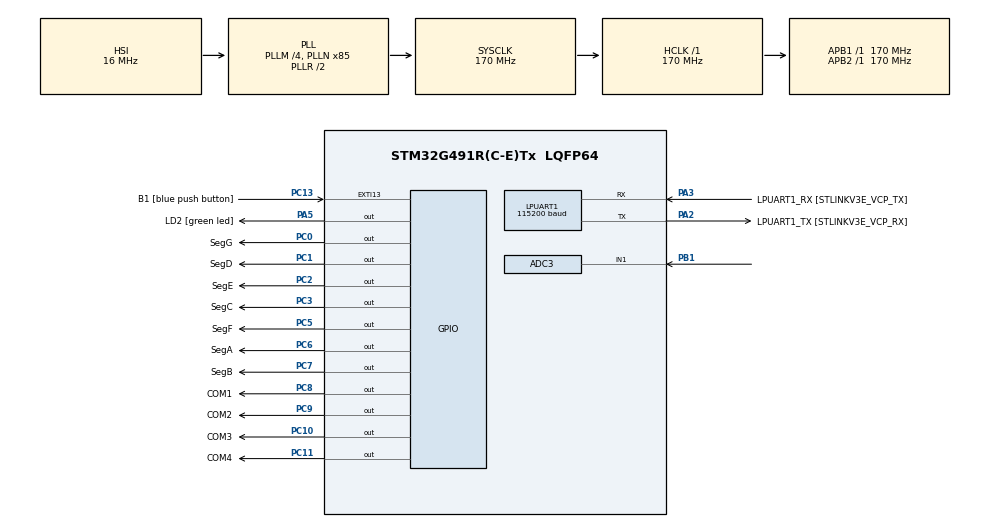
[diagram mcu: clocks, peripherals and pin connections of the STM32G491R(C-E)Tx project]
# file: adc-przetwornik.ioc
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ADC3.Channel-1\#ChannelRegularConversion=ADC_CHANNEL_1
ADC3.ContinuousConvMode=DISABLE
ADC3.NbrOfConversionFlag=1
ADC3.OffsetNumber-1\#ChannelRegularConversion=ADC_OFFSET_NONE
ADC3.Rank-1\#ChannelRegularConversion=1
ADC3.SamplingTime-1\#ChannelRegularConversion=ADC_SAMPLETIME_640CYCLES_5
ADC3.master=1
LPUART1.BaudRate=115200
LPUART1.WordLength=UART_WORDLENGTH_8B
Mcu.Family=STM32G4
Mcu.Name=STM32G491R(C-E)Tx
Mcu.Package=LQFP64
NVIC.ADC3_IRQn=true\:0\:0\:false\:false\:true\:true\:true\:true
NVIC.EXTI15_10_IRQn=true\:0\:0\:false\:false\:true\:true\:true\:true
NVIC.PriorityGroup=NVIC_PRIORITYGROUP_4
NVIC.TIM1_TRG_COM_TIM17_IRQn=true\:0\:0\:false\:false\:true\:true\:true\:true
NVIC.TIM1_UP_TIM16_IRQn=true\:0\:0\:false\:false\:true\:true\:true\:true
PA13.GPIO_Label=T_SWDIO
PA13.Mode=Serial_Wire
PA13.Signal=SYS_JTMS-SWDIO
PA14.GPIO_Label=T_SWCLK
PA14.Mode=Serial_Wire
PA14.Signal=SYS_JTCK-SWCLK
PA2.GPIO_Label=LPUART1_TX [STLINKV3E_VCP_RX]
PA2.Mode=Asynchronous
PA2.Signal=LPUART1_TX
PA3.GPIO_Label=LPUART1_RX [STLINKV3E_VCP_TX]
PA3.Mode=Asynchronous
PA3.Signal=LPUART1_RX
PA5.GPIO_Label=LD2 [green led]
PA5.Signal=GPIO_Output
PB1.Mode=IN1-Single-Ended
PB1.Signal=ADC3_IN1
PB3.GPIO_Label=T_SWO
PB3.Signal=SYS_JTDO-SWO
PC0.GPIO_Label=SegG
PC0.Signal=GPIO_Output
PC1.GPIO_Label=SegD
PC1.Signal=GPIO_Output
PC10.GPIO_Label=COM3
PC10.Signal=GPIO_Output
PC11.GPIO_Label=COM4
PC11.Signal=GPIO_Output
PC13.GPIO_Label=B1 [blue push button]
PC13.Signal=GPXTI13
PC14-OSC32_IN.Mode=LSE-External-Oscillator
PC14-OSC32_IN.Signal=RCC_OSC32_IN
PC15-OSC32_OUT.Mode=LSE-External-Oscillator
PC15-OSC32_OUT.Signal=RCC_OSC32_OUT
PC2.GPIO_Label=SegE
PC2.Signal=GPIO_Output
PC3.GPIO_Label=SegC
PC3.Signal=GPIO_Output
PC5.GPIO_Label=SegF
PC5.Signal=GPIO_Output
PC6.GPIO_Label=SegA
PC6.Signal=GPIO_Output
PC7.GPIO_Label=SegB
PC7.Signal=GPIO_Output
PC8.GPIO_Label=COM1
PC8.Signal=GPIO_Output
PC9.GPIO_Label=COM2
PC9.Signal=GPIO_Output
PF0-OSC_IN.Mode=HSE-External-Oscillator
PF0-OSC_IN.Signal=RCC_OSC_IN
PF1-OSC_OUT.Mode=HSE-External-Oscillator
PF1-OSC_OUT.Signal=RCC_OSC_OUT
ProjectManager.HeapSize=0x200
ProjectManager.StackSize=0x400
ProjectManager.TargetToolchain=STM32CubeIDE
RCC.ADC12Freq_Value=170000000
RCC.ADC345Freq_Value=170000000
RCC.AHBFreq_Value=170000000
RCC.APB1Freq_Value=170000000
RCC.APB1TimFreq_Value=170000000
RCC.APB2Freq_Value=170000000
RCC.APB2TimFreq_Value=170000000
RCC.CortexFreq_Value=170000000
RCC.EXTERNAL_CLOCK_VALUE=12288000
RCC.HCLKFreq_Value=170000000
RCC.HSE_VALUE=24000000
RCC.HSI48_VALUE=48000000
RCC.HSI_VALUE=16000000
RCC.PLLM=RCC_PLLM_DIV4
RCC.PLLN=85
RCC.RTCClockSelection=RCC_RTCCLKSOURCE_LSE
RCC.SYSCLKFreq_VALUE=170000000
RCC.SYSCLKSource=RCC_SYSCLKSOURCE_PLLCLK
RCC.USBFreq_Value=48000000
RCC.VCOOutputFreq_Value=340000000
TIM16.AutoReloadPreload=TIM_AUTORELOAD_PRELOAD_ENABLE
TIM16.PeriodNoDither=999
TIM16.Prescaler=1699
TIM17.PeriodNoDither=9999
TIM17.Prescaler=16999
VP_SYS_VS_DBSignals.Mode=DisableDeadBatterySignals
VP_TIM16_VS_ClockSourceINT.Mode=Enable_Timer
VP_TIM17_VS_ClockSourceINT.Mode=Enable_Timer
VP_TIM1_VS_ClockSourceINT.Mode=Internal
board=NUCLEO-G491RE

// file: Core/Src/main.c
/* USER CODE BEGIN Header */
/**
  ******************************************************************************
  * @file           : main.c
  * @brief          : Main program body
  ******************************************************************************
  * @attention
  *
  * Copyright (c) 2023 STMicroelectronics.
  * All rights reserved.
  *
  * This software is licensed under terms that can be found in the LICENSE file
  * in the root directory of this software component.
  * If no LICENSE file comes with this software, it is provided AS-IS.
  *
  ******************************************************************************
  */
/* USER CODE END Header */
#include "main.h"

ADC_HandleTypeDef hadc3;

UART_HandleTypeDef hlpuart1;

TIM_HandleTypeDef htim1;
TIM_HandleTypeDef htim16;
TIM_HandleTypeDef htim17;

/* USER CODE BEGIN PV */
uint8_t state = 0;
uint16_t table[4];
uint16_t value=0;
/* USER CODE END PV */

void SystemClock_Config(void);
static void MX_GPIO_Init(void);
static void MX_LPUART1_UART_Init(void);
static void MX_TIM16_Init(void);
static void MX_ADC3_Init(void);
static void MX_TIM1_Init(void);
static void MX_TIM17_Init(void);
/* USER CODE BEGIN PFP */

void HAL_TIM_PeriodElapsedCallback(TIM_HandleTypeDef *htim)
{
	if(htim -> Instance==TIM17){
		  HAL_ADC_Start_IT(&hadc3);
	}

	if(htim-> Instance==TIM16){
		switch(state) {
				case 0:
					clear_digit();
					led_display(table[0]);
					digit_display(0);
					break;
				case 1:
					clear_digit();
					led_display(table[1]);
					digit_display(1);
					break;
				case 2:
					clear_digit();
					led_display(table[2]);
					digit_display(2);
					break;
				case 3:
					clear_digit();
					led_display(table[3]);
					digit_display(3);
					break;
				 }
			    state++;
				if(state>3)
				{
					state=0;
				}
	}
}

void HAL_ADC_ConvCpltCallback(ADC_HandleTypeDef *hadc){
	value=HAL_ADC_GetValue(&hadc3);
	modulo_number(value);
	/*if(value>4095){
		value=0;

	}*/
}

void clear_digit(void)
{

	HAL_GPIO_WritePin(GPIOC, COM1_Pin, GPIO_PIN_RESET);
	HAL_GPIO_WritePin(GPIOC, COM2_Pin, GPIO_PIN_RESET);
	HAL_GPIO_WritePin(GPIOC, COM3_Pin, GPIO_PIN_RESET);
	HAL_GPIO_WritePin(GPIOC, COM4_Pin, GPIO_PIN_RESET);
	HAL_GPIO_WritePin(GPIOC, SegA_Pin, GPIO_PIN_SET);
	HAL_GPIO_WritePin(GPIOC, SegB_Pin, GPIO_PIN_SET);
	HAL_GPIO_WritePin(GPIOC, SegC_Pin, GPIO_PIN_SET);
	HAL_GPIO_WritePin(GPIOC, SegD_Pin, GPIO_PIN_SET);
	HAL_GPIO_WritePin(GPIOC, SegE_Pin, GPIO_PIN_SET);
	HAL_GPIO_WritePin(GPIOC, SegF_Pin, GPIO_PIN_SET);
	HAL_GPIO_WritePin(GPIOC, SegG_Pin, GPIO_PIN_SET);

}

void led_display(uint16_t digit){
	switch(digit){
		case 0:
			HAL_GPIO_WritePin(GPIOC, SegA_Pin, GPIO_PIN_RESET);
			HAL_GPIO_WritePin(GPIOC, SegB_Pin, GPIO_PIN_RESET);
			HAL_GPIO_WritePin(GPIOC, SegC_Pin, GPIO_PIN_RESET);
			HAL_GPIO_WritePin(GPIOC, SegD_Pin, GPIO_PIN_RESET);
			HAL_GPIO_WritePin(GPIOC, SegE_Pin, GPIO_PIN_RESET);
			HAL_GPIO_WritePin(GPIOC, SegF_Pin, GPIO_PIN_RESET);
			HAL_GPIO_WritePin(GPIOC, SegG_Pin, GPIO_PIN_SET);
			break;
		case 1:

			HAL_GPIO_WritePin(GPIOC, SegB_Pin, GPIO_PIN_RESET);
			HAL_GPIO_WritePin(GPIOC, SegC_Pin, GPIO_PIN_RESET);
			HAL_GPIO_WritePin(GPIOC, SegG_Pin, GPIO_PIN_SET);
			HAL_GPIO_WritePin(GPIOC, SegA_Pin, GPIO_PIN_SET);
			HAL_GPIO_WritePin(GPIOC, SegE_Pin, GPIO_PIN_SET);
			HAL_GPIO_WritePin(GPIOC, SegD_Pin, GPIO_PIN_SET);
			HAL_GPIO_WritePin(GPIOC, SegF_Pin, GPIO_PIN_SET);

			break;
		case 2:
			HAL_GPIO_WritePin(GPIOC, SegA_Pin, GPIO_PIN_RESET);
			HAL_GPIO_WritePin(GPIOC, SegB_Pin, GPIO_PIN_RESET);
			HAL_GPIO_WritePin(GPIOC, SegD_Pin, GPIO_PIN_RESET);
			HAL_GPIO_WritePin(GPIOC, SegE_Pin, GPIO_PIN_RESET);
			HAL_GPIO_WritePin(GPIOC, SegG_Pin, GPIO_PIN_RESET);
			HAL_GPIO_WritePin(GPIOC, SegF_Pin, GPIO_PIN_SET);
			HAL_GPIO_WritePin(GPIOC, SegC_Pin, GPIO_PIN_SET);

			break;
		case 3:
			HAL_GPIO_WritePin(GPIOC, SegA_Pin, GPIO_PIN_RESET);
			HAL_GPIO_WritePin(GPIOC, SegB_Pin, GPIO_PIN_RESET);
			HAL_GPIO_WritePin(GPIOC, SegC_Pin, GPIO_PIN_RESET);
			HAL_GPIO_WritePin(GPIOC, SegD_Pin, GPIO_PIN_RESET);
			HAL_GPIO_WritePin(GPIOC, SegG_Pin, GPIO_PIN_RESET);
			HAL_GPIO_WritePin(GPIOC, SegF_Pin, GPIO_PIN_SET);
			HAL_GPIO_WritePin(GPIOC, SegE_Pin, GPIO_PIN_SET);
			break;
		case 4:
			  HAL_GPIO_WritePin(GPIOC, SegB_Pin, GPIO_PIN_RESET);
			  HAL_GPIO_WritePin(GPIOC, SegC_Pin, GPIO_PIN_RESET);
			  HAL_GPIO_WritePin(GPIOC, SegF_Pin, GPIO_PIN_RESET);
			  HAL_GPIO_WritePin(GPIOC, SegG_Pin, GPIO_PIN_RESET);
			  HAL_GPIO_WritePin(GPIOC, SegA_Pin, GPIO_PIN_SET);
			  HAL_GPIO_WritePin(GPIOC, SegD_Pin, GPIO_PIN_SET);
			  HAL_GPIO_WritePin(GPIOC, SegE_Pin, GPIO_PIN_SET);
			break;
		case 5:
			  HAL_GPIO_WritePin(GPIOC, SegA_Pin, GPIO_PIN_RESET);
			  HAL_GPIO_WritePin(GPIOC, SegC_Pin, GPIO_PIN_RESET);
			  HAL_GPIO_WritePin(GPIOC, SegD_Pin, GPIO_PIN_RESET);
			  HAL_GPIO_WritePin(GPIOC, SegF_Pin, GPIO_PIN_RESET);
			  HAL_GPIO_WritePin(GPIOC, SegG_Pin, GPIO_PIN_RESET);
			  HAL_GPIO_WritePin(GPIOC, SegB_Pin, GPIO_PIN_SET);
			  HAL_GPIO_WritePin(GPIOC, SegE_Pin, GPIO_PIN_SET);
			break;
		case 6:
			  HAL_GPIO_WritePin(GPIOC, SegA_Pin, GPIO_PIN_RESET);
			  HAL_GPIO_WritePin(GPIOC, SegC_Pin, GPIO_PIN_RESET);
			  HAL_GPIO_WritePin(GPIOC, SegD_Pin, GPIO_PIN_RESET);
			  HAL_GPIO_WritePin(GPIOC, SegE_Pin, GPIO_PIN_RESET);
			  HAL_GPIO_WritePin(GPIOC, SegF_Pin, GPIO_PIN_RESET);
			  HAL_GPIO_WritePin(GPIOC, SegG_Pin, GPIO_PIN_RESET);
			  HAL_GPIO_WritePin(GPIOC, SegB_Pin, GPIO_PIN_SET);
			break;
		case 7:
			  HAL_GPIO_WritePin(GPIOC, SegA_Pin, GPIO_PIN_RESET);
			  HAL_GPIO_WritePin(GPIOC, SegB_Pin, GPIO_PIN_RESET);
			  HAL_GPIO_WritePin(GPIOC, SegC_Pin, GPIO_PIN_RESET);
			  HAL_GPIO_WritePin(GPIOC, SegD_Pin, GPIO_PIN_SET);
			  HAL_GPIO_WritePin(GPIOC, SegE_Pin, GPIO_PIN_SET);
			  HAL_GPIO_WritePin(GPIOC, SegF_Pin, GPIO_PIN_SET);
			  HAL_GPIO_WritePin(GPIOC, SegG_Pin, GPIO_PIN_SET);
			break;
		case 8:
			 HAL_GPIO_WritePin(GPIOC, SegA_Pin, GPIO_PIN_RESET);
			 HAL_GPIO_WritePin(GPIOC, SegB_Pin, GPIO_PIN_RESET);
			 HAL_GPIO_WritePin(GPIOC, SegC_Pin, GPIO_PIN_RESET);
			 HAL_GPIO_WritePin(GPIOC, SegD_Pin, GPIO_PIN_RESET);
			 HAL_GPIO_WritePin(GPIOC, SegE_Pin, GPIO_PIN_RESET);
			 HAL_GPIO_WritePin(GPIOC, SegF_Pin, GPIO_PIN_RESET);
			 HAL_GPIO_WritePin(GPIOC, SegG_Pin, GPIO_PIN_RESET);
			break;
		case 9:
			  HAL_GPIO_WritePin(GPIOC, SegA_Pin, GPIO_PIN_RESET);
			  HAL_GPIO_WritePin(GPIOC, SegB_Pin, GPIO_PIN_RESET);
			  HAL_GPIO_WritePin(GPIOC, SegC_Pin, GPIO_PIN_RESET);
			  HAL_GPIO_WritePin(GPIOC, SegD_Pin, GPIO_PIN_RESET);
			  HAL_GPIO_WritePin(GPIOC, SegF_Pin, GPIO_PIN_RESET);
			  HAL_GPIO_WritePin(GPIOC, SegG_Pin, GPIO_PIN_RESET);
			  HAL_GPIO_WritePin(GPIOC, SegE_Pin, GPIO_PIN_SET);
			break;
	}

}

void modulo_number(uint16_t number)
{
	uint16_t helping_num = number;
	uint16_t help_table[4] = {1000, 100, 10, 1};
	for (int i = 0; i<4; i++)
	{
		table[i] = helping_num/help_table[i];
		helping_num = helping_num%help_table[i];

	}
}

void digit_display(uint8_t digit)
{
	switch (digit)
	{
	case 0:
		HAL_GPIO_WritePin(GPIOC, COM1_Pin, GPIO_PIN_SET);
		HAL_GPIO_WritePin(GPIOC, COM2_Pin, GPIO_PIN_RESET);
		HAL_GPIO_WritePin(GPIOC, COM3_Pin, GPIO_PIN_RESET);
		HAL_GPIO_WritePin(GPIOC, COM4_Pin, GPIO_PIN_RESET);
		break;
	case 1:
		HAL_GPIO_WritePin(GPIOC, COM2_Pin, GPIO_PIN_SET);
		HAL_GPIO_WritePin(GPIOC, COM1_Pin, GPIO_PIN_RESET);
		HAL_GPIO_WritePin(GPIOC, COM3_Pin, GPIO_PIN_RESET);
		HAL_GPIO_WritePin(GPIOC, COM4_Pin, GPIO_PIN_RESET);
		break;
	case 2:
		HAL_GPIO_WritePin(GPIOC, COM3_Pin, GPIO_PIN_SET);
		HAL_GPIO_WritePin(GPIOC, COM2_Pin, GPIO_PIN_RESET);
		HAL_GPIO_WritePin(GPIOC, COM1_Pin, GPIO_PIN_RESET);
		HAL_GPIO_WritePin(GPIOC, COM4_Pin, GPIO_PIN_RESET);
		break;
	case 3:
		HAL_GPIO_WritePin(GPIOC, COM4_Pin, GPIO_PIN_SET);
		HAL_GPIO_WritePin(GPIOC, COM2_Pin, GPIO_PIN_RESET);
		HAL_GPIO_WritePin(GPIOC, COM3_Pin, GPIO_PIN_RESET);
		HAL_GPIO_WritePin(GPIOC, COM1_Pin, GPIO_PIN_RESET);
		break;
	}
}

/* USER CODE END PFP */

int main(void)
{

  /* MCU Configuration--------------------------------------------------------*/

  /* Reset of all peripherals, Initializes the Flash interface and the Systick. */
  HAL_Init();

  /* Configure the system clock */
  SystemClock_Config();

  /* Initialize all configured peripherals */
  MX_GPIO_Init();
  MX_LPUART1_UART_Init();
  MX_TIM16_Init();
  MX_ADC3_Init();
  MX_TIM1_Init();
  MX_TIM17_Init();
  /* USER CODE BEGIN 2 */
  HAL_TIM_Base_Start_IT(&htim16);
  HAL_TIM_Base_Start_IT(&htim17);
  /* USER CODE END 2 */

  /* Infinite loop */
  while (1)
  {

  }
}

void SystemClock_Config(void)
{
  RCC_OscInitTypeDef RCC_OscInitStruct = {0};
  RCC_ClkInitTypeDef RCC_ClkInitStruct = {0};

  /** Configure the main internal regulator output voltage
  */
  HAL_PWREx_ControlVoltageScaling(PWR_REGULATOR_VOLTAGE_SCALE1_BOOST);

  /** Initializes the RCC Oscillators according to the specified parameters
  * in the RCC_OscInitTypeDef structure.
  */
  RCC_OscInitStruct.OscillatorType = RCC_OSCILLATORTYPE_HSI;
  RCC_OscInitStruct.HSIState = RCC_HSI_ON;
  RCC_OscInitStruct.HSICalibrationValue = RCC_HSICALIBRATION_DEFAULT;
  RCC_OscInitStruct.PLL.PLLState = RCC_PLL_ON;
  RCC_OscInitStruct.PLL.PLLSource = RCC_PLLSOURCE_HSI;
  RCC_OscInitStruct.PLL.PLLM = RCC_PLLM_DIV4;
  RCC_OscInitStruct.PLL.PLLN = 85;
  RCC_OscInitStruct.PLL.PLLP = RCC_PLLP_DIV2;
  RCC_OscInitStruct.PLL.PLLQ = RCC_PLLQ_DIV2;
  RCC_OscInitStruct.PLL.PLLR = RCC_PLLR_DIV2;
  if (HAL_RCC_OscConfig(&RCC_OscInitStruct) != HAL_OK)
  {
    Error_Handler();
  }

  /** Initializes the CPU, AHB and APB buses clocks
  */
  RCC_ClkInitStruct.ClockType = RCC_CLOCKTYPE_HCLK|RCC_CLOCKTYPE_SYSCLK
                              |RCC_CLOCKTYPE_PCLK1|RCC_CLOCKTYPE_PCLK2;
  RCC_ClkInitStruct.SYSCLKSource = RCC_SYSCLKSOURCE_PLLCLK;
  RCC_ClkInitStruct.AHBCLKDivider = RCC_SYSCLK_DIV1;
  RCC_ClkInitStruct.APB1CLKDivider = RCC_HCLK_DIV1;
  RCC_ClkInitStruct.APB2CLKDivider = RCC_HCLK_DIV1;

  if (HAL_RCC_ClockConfig(&RCC_ClkInitStruct, FLASH_LATENCY_4) != HAL_OK)
  {
    Error_Handler();
  }
}

static void MX_ADC3_Init(void)
{

  ADC_ChannelConfTypeDef sConfig = {0};

  /** Common config
  */
  hadc3.Instance = ADC3;
  hadc3.Init.ClockPrescaler = ADC_CLOCK_SYNC_PCLK_DIV4;
  hadc3.Init.Resolution = ADC_RESOLUTION_12B;
  hadc3.Init.DataAlign = ADC_DATAALIGN_RIGHT;
  hadc3.Init.GainCompensation = 0;
  hadc3.Init.ScanConvMode = ADC_SCAN_DISABLE;
  hadc3.Init.EOCSelection = ADC_EOC_SINGLE_CONV;
  hadc3.Init.LowPowerAutoWait = DISABLE;
  hadc3.Init.ContinuousConvMode = DISABLE;
  hadc3.Init.NbrOfConversion = 1;
  hadc3.Init.DiscontinuousConvMode = DISABLE;
  hadc3.Init.ExternalTrigConv = ADC_SOFTWARE_START;
  hadc3.Init.ExternalTrigConvEdge = ADC_EXTERNALTRIGCONVEDGE_NONE;
  hadc3.Init.DMAContinuousRequests = DISABLE;
  hadc3.Init.Overrun = ADC_OVR_DATA_PRESERVED;
  hadc3.Init.OversamplingMode = DISABLE;
  if (HAL_ADC_Init(&hadc3) != HAL_OK)
  {
    Error_Handler();
  }

  /** Configure Regular Channel
  */
  sConfig.Channel = ADC_CHANNEL_1;
  sConfig.Rank = ADC_REGULAR_RANK_1;
  sConfig.SamplingTime = ADC_SAMPLETIME_640CYCLES_5;
  sConfig.SingleDiff = ADC_SINGLE_ENDED;
  sConfig.OffsetNumber = ADC_OFFSET_NONE;
  sConfig.Offset = 0;
  if (HAL_ADC_ConfigChannel(&hadc3, &sConfig) != HAL_OK)
  {
    Error_Handler();
  }

}

static void MX_LPUART1_UART_Init(void)
{

  hlpuart1.Instance = LPUART1;
  hlpuart1.Init.BaudRate = 115200;
  hlpuart1.Init.WordLength = UART_WORDLENGTH_8B;
  hlpuart1.Init.StopBits = UART_STOPBITS_1;
  hlpuart1.Init.Parity = UART_PARITY_NONE;
  hlpuart1.Init.Mode = UART_MODE_TX_RX;
  hlpuart1.Init.HwFlowCtl = UART_HWCONTROL_NONE;
  hlpuart1.Init.OneBitSampling = UART_ONE_BIT_SAMPLE_DISABLE;
  hlpuart1.Init.ClockPrescaler = UART_PRESCALER_DIV1;
  hlpuart1.AdvancedInit.AdvFeatureInit = UART_ADVFEATURE_NO_INIT;
  if (HAL_UART_Init(&hlpuart1) != HAL_OK)
  {
    Error_Handler();
  }
  if (HAL_UARTEx_SetTxFifoThreshold(&hlpuart1, UART_TXFIFO_THRESHOLD_1_8) != HAL_OK)
  {
    Error_Handler();
  }
  if (HAL_UARTEx_SetRxFifoThreshold(&hlpuart1, UART_RXFIFO_THRESHOLD_1_8) != HAL_OK)
  {
    Error_Handler();
  }
  if (HAL_UARTEx_DisableFifoMode(&hlpuart1) != HAL_OK)
  {
    Error_Handler();
  }

}

static void MX_TIM1_Init(void)
{

  TIM_ClockConfigTypeDef sClockSourceConfig = {0};
  TIM_MasterConfigTypeDef sMasterConfig = {0};

  htim1.Instance = TIM1;
  htim1.Init.Prescaler = 0;
  htim1.Init.CounterMode = TIM_COUNTERMODE_UP;
  htim1.Init.Period = 65535;
  htim1.Init.ClockDivision = TIM_CLOCKDIVISION_DIV1;
  htim1.Init.RepetitionCounter = 0;
  htim1.Init.AutoReloadPreload = TIM_AUTORELOAD_PRELOAD_DISABLE;
  if (HAL_TIM_Base_Init(&htim1) != HAL_OK)
  {
    Error_Handler();
  }
  sClockSourceConfig.ClockSource = TIM_CLOCKSOURCE_INTERNAL;
  if (HAL_TIM_ConfigClockSource(&htim1, &sClockSourceConfig) != HAL_OK)
  {
    Error_Handler();
  }
  sMasterConfig.MasterOutputTrigger = TIM_TRGO_RESET;
  sMasterConfig.MasterOutputTrigger2 = TIM_TRGO2_RESET;
  sMasterConfig.MasterSlaveMode = TIM_MASTERSLAVEMODE_DISABLE;
  if (HAL_TIMEx_MasterConfigSynchronization(&htim1, &sMasterConfig) != HAL_OK)
  {
    Error_Handler();
  }

}

static void MX_TIM16_Init(void)
{

  htim16.Instance = TIM16;
  htim16.Init.Prescaler = 1699;
  htim16.Init.CounterMode = TIM_COUNTERMODE_UP;
  htim16.Init.Period = 999;
  htim16.Init.ClockDivision = TIM_CLOCKDIVISION_DIV1;
  htim16.Init.RepetitionCounter = 0;
  htim16.Init.AutoReloadPreload = TIM_AUTORELOAD_PRELOAD_ENABLE;
  if (HAL_TIM_Base_Init(&htim16) != HAL_OK)
  {
    Error_Handler();
  }

}

static void MX_TIM17_Init(void)
{

  htim17.Instance = TIM17;
  htim17.Init.Prescaler = 16999;
  htim17.Init.CounterMode = TIM_COUNTERMODE_UP;
  htim17.Init.Period = 9999;
  htim17.Init.ClockDivision = TIM_CLOCKDIVISION_DIV1;
  htim17.Init.RepetitionCounter = 0;
  htim17.Init.AutoReloadPreload = TIM_AUTORELOAD_PRELOAD_DISABLE;
  if (HAL_TIM_Base_Init(&htim17) != HAL_OK)
  {
    Error_Handler();
  }

}

static void MX_GPIO_Init(void)
{
  GPIO_InitTypeDef GPIO_InitStruct = {0};

  /* GPIO Ports Clock Enable */
  __HAL_RCC_GPIOC_CLK_ENABLE();
  __HAL_RCC_GPIOF_CLK_ENABLE();
  __HAL_RCC_GPIOA_CLK_ENABLE();
  __HAL_RCC_GPIOB_CLK_ENABLE();

  /*Configure GPIO pin Output Level */
  HAL_GPIO_WritePin(GPIOC, SegG_Pin|SegD_Pin|SegE_Pin|SegC_Pin
                          |SegF_Pin|SegA_Pin|SegB_Pin|COM1_Pin
                          |COM2_Pin|COM3_Pin|COM4_Pin, GPIO_PIN_RESET);

  /*Configure GPIO pin Output Level */
  HAL_GPIO_WritePin(LD2_GPIO_Port, LD2_Pin, GPIO_PIN_RESET);

  /*Configure GPIO pin : B1_Pin */
  GPIO_InitStruct.Pin = B1_Pin;
  GPIO_InitStruct.Mode = GPIO_MODE_IT_RISING;
  GPIO_InitStruct.Pull = GPIO_NOPULL;
  HAL_GPIO_Init(B1_GPIO_Port, &GPIO_InitStruct);

  /*Configure GPIO pins : SegG_Pin SegD_Pin SegE_Pin SegC_Pin
                           SegF_Pin SegA_Pin SegB_Pin COM1_Pin
                           COM2_Pin COM3_Pin COM4_Pin */
  GPIO_InitStruct.Pin = SegG_Pin|SegD_Pin|SegE_Pin|SegC_Pin
                          |SegF_Pin|SegA_Pin|SegB_Pin|COM1_Pin
                          |COM2_Pin|COM3_Pin|COM4_Pin;
  GPIO_InitStruct.Mode = GPIO_MODE_OUTPUT_PP;
  GPIO_InitStruct.Pull = GPIO_NOPULL;
  GPIO_InitStruct.Speed = GPIO_SPEED_FREQ_LOW;
  HAL_GPIO_Init(GPIOC, &GPIO_InitStruct);

  /*Configure GPIO pin : LD2_Pin */
  GPIO_InitStruct.Pin = LD2_Pin;
  GPIO_InitStruct.Mode = GPIO_MODE_OUTPUT_PP;
  GPIO_InitStruct.Pull = GPIO_NOPULL;
  GPIO_InitStruct.Speed = GPIO_SPEED_FREQ_LOW;
  HAL_GPIO_Init(LD2_GPIO_Port, &GPIO_InitStruct);

  /* EXTI interrupt init*/
  HAL_NVIC_SetPriority(EXTI15_10_IRQn, 0, 0);
  HAL_NVIC_EnableIRQ(EXTI15_10_IRQn);

}

void Error_Handler(void)
{
  __disable_irq();
  while (1)
  {
  }
}
